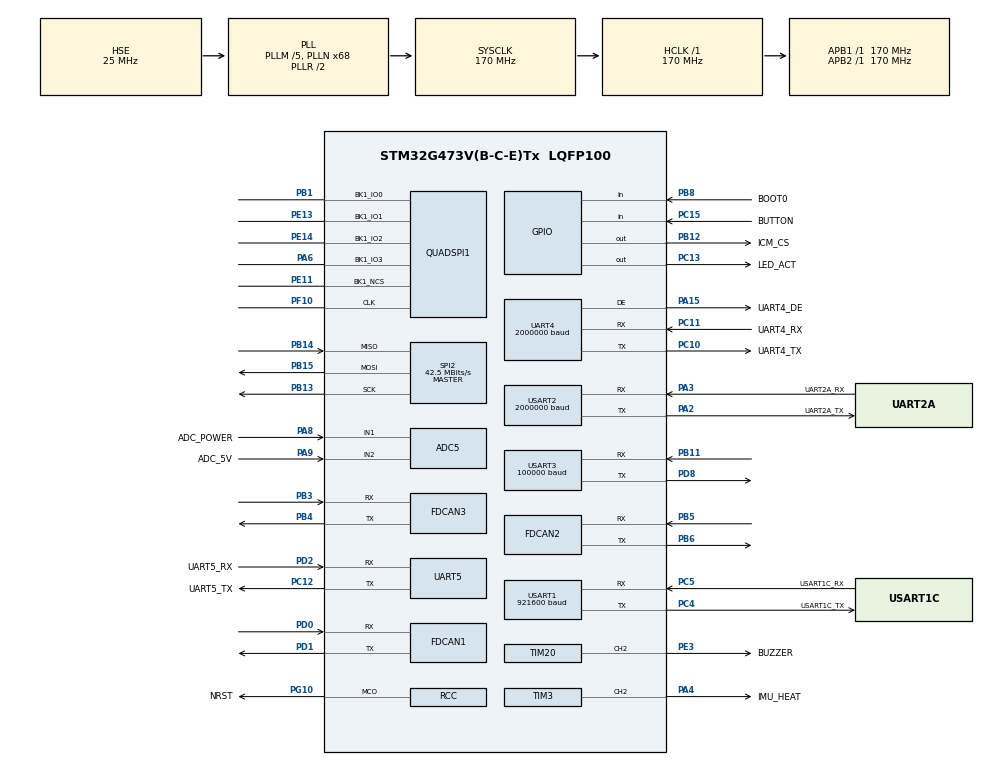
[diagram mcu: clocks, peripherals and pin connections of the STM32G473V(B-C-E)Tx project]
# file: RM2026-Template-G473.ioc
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ADC5.Channel-0\#ChannelRegularConversion=ADC_CHANNEL_1
ADC5.NbrOfConversionFlag=1
ADC5.OffsetNumber-0\#ChannelRegularConversion=ADC_OFFSET_NONE
ADC5.Rank-0\#ChannelRegularConversion=1
ADC5.SamplingTime-0\#ChannelRegularConversion=ADC_SAMPLETIME_2CYCLES_5
Dma.Request0=UART4_RX
Dma.Request1=UART4_TX
Dma.Request10=USART3_TX
Dma.Request2=USART2_RX
Dma.Request3=USART2_TX
Dma.Request4=USART3_RX
Dma.Request5=UART5_RX
Dma.Request6=USART1_RX
Dma.Request7=SPI2_RX
Dma.Request8=SPI2_TX
Dma.Request9=UART5_TX
Dma.SPI2_RX.7.Direction=DMA_PERIPH_TO_MEMORY
Dma.SPI2_RX.7.EventEnable=DISABLE
Dma.SPI2_RX.7.Instance=DMA2_Channel1
Dma.SPI2_RX.7.MemDataAlignment=DMA_MDATAALIGN_BYTE
Dma.SPI2_RX.7.MemInc=DMA_MINC_ENABLE
Dma.SPI2_RX.7.Mode=DMA_NORMAL
Dma.SPI2_RX.7.PeriphDataAlignment=DMA_PDATAALIGN_BYTE
Dma.SPI2_RX.7.PeriphInc=DMA_PINC_DISABLE
Dma.SPI2_RX.7.Polarity=HAL_DMAMUX_REQ_GEN_RISING
Dma.SPI2_RX.7.Priority=DMA_PRIORITY_HIGH
Dma.SPI2_RX.7.RequestNumber=1
Dma.SPI2_RX.7.SignalID=NONE
Dma.SPI2_RX.7.SyncEnable=DISABLE
Dma.SPI2_RX.7.SyncPolarity=HAL_DMAMUX_SYNC_NO_EVENT
Dma.SPI2_RX.7.SyncRequestNumber=1
Dma.SPI2_RX.7.SyncSignalID=NONE
Dma.SPI2_TX.8.Direction=DMA_MEMORY_TO_PERIPH
Dma.SPI2_TX.8.EventEnable=DISABLE
Dma.SPI2_TX.8.Instance=DMA2_Channel2
Dma.SPI2_TX.8.MemDataAlignment=DMA_MDATAALIGN_BYTE
Dma.SPI2_TX.8.MemInc=DMA_MINC_ENABLE
Dma.SPI2_TX.8.Mode=DMA_NORMAL
Dma.SPI2_TX.8.PeriphDataAlignment=DMA_PDATAALIGN_BYTE
Dma.SPI2_TX.8.PeriphInc=DMA_PINC_DISABLE
Dma.SPI2_TX.8.Polarity=HAL_DMAMUX_REQ_GEN_RISING
Dma.SPI2_TX.8.Priority=DMA_PRIORITY_HIGH
Dma.SPI2_TX.8.RequestNumber=1
Dma.SPI2_TX.8.SignalID=NONE
Dma.SPI2_TX.8.SyncEnable=DISABLE
Dma.SPI2_TX.8.SyncPolarity=HAL_DMAMUX_SYNC_NO_EVENT
Dma.SPI2_TX.8.SyncRequestNumber=1
Dma.SPI2_TX.8.SyncSignalID=NONE
Dma.UART4_RX.0.Direction=DMA_PERIPH_TO_MEMORY
Dma.UART4_RX.0.EventEnable=DISABLE
Dma.UART4_RX.0.Instance=DMA1_Channel2
Dma.UART4_RX.0.MemDataAlignment=DMA_MDATAALIGN_BYTE
Dma.UART4_RX.0.MemInc=DMA_MINC_ENABLE
Dma.UART4_RX.0.Mode=DMA_NORMAL
Dma.UART4_RX.0.PeriphDataAlignment=DMA_PDATAALIGN_BYTE
Dma.UART4_RX.0.PeriphInc=DMA_PINC_DISABLE
Dma.UART4_RX.0.Polarity=HAL_DMAMUX_REQ_GEN_RISING
Dma.UART4_RX.0.Priority=DMA_PRIORITY_VERY_HIGH
Dma.UART4_RX.0.RequestNumber=1
Dma.UART4_RX.0.SignalID=NONE
Dma.UART4_RX.0.SyncEnable=DISABLE
Dma.UART4_RX.0.SyncPolarity=HAL_DMAMUX_SYNC_NO_EVENT
Dma.UART4_RX.0.SyncRequestNumber=1
Dma.UART4_RX.0.SyncSignalID=NONE
Dma.UART4_TX.1.Direction=DMA_MEMORY_TO_PERIPH
Dma.UART4_TX.1.EventEnable=DISABLE
Dma.UART4_TX.1.Instance=DMA1_Channel3
Dma.UART4_TX.1.MemDataAlignment=DMA_MDATAALIGN_BYTE
Dma.UART4_TX.1.MemInc=DMA_MINC_ENABLE
Dma.UART4_TX.1.Mode=DMA_NORMAL
Dma.UART4_TX.1.PeriphDataAlignment=DMA_PDATAALIGN_BYTE
Dma.UART4_TX.1.PeriphInc=DMA_PINC_DISABLE
Dma.UART4_TX.1.Polarity=HAL_DMAMUX_REQ_GEN_RISING
Dma.UART4_TX.1.Priority=DMA_PRIORITY_VERY_HIGH
Dma.UART4_TX.1.RequestNumber=1
Dma.UART4_TX.1.SignalID=NONE
Dma.UART4_TX.1.SyncEnable=DISABLE
Dma.UART4_TX.1.SyncPolarity=HAL_DMAMUX_SYNC_NO_EVENT
Dma.UART4_TX.1.SyncRequestNumber=1
Dma.UART4_TX.1.SyncSignalID=NONE
Dma.UART5_RX.5.Direction=DMA_PERIPH_TO_MEMORY
Dma.UART5_RX.5.EventEnable=DISABLE
Dma.UART5_RX.5.Instance=DMA1_Channel8
Dma.UART5_RX.5.MemDataAlignment=DMA_MDATAALIGN_BYTE
Dma.UART5_RX.5.MemInc=DMA_MINC_ENABLE
Dma.UART5_RX.5.Mode=DMA_CIRCULAR
Dma.UART5_RX.5.PeriphDataAlignment=DMA_PDATAALIGN_BYTE
Dma.UART5_RX.5.PeriphInc=DMA_PINC_DISABLE
Dma.UART5_RX.5.Polarity=HAL_DMAMUX_REQ_GEN_RISING
Dma.UART5_RX.5.Priority=DMA_PRIORITY_HIGH
Dma.UART5_RX.5.RequestNumber=1
Dma.UART5_RX.5.SignalID=NONE
Dma.UART5_RX.5.SyncEnable=DISABLE
Dma.UART5_RX.5.SyncPolarity=HAL_DMAMUX_SYNC_NO_EVENT
Dma.UART5_RX.5.SyncRequestNumber=1
Dma.UART5_RX.5.SyncSignalID=NONE
Dma.UART5_TX.9.Direction=DMA_MEMORY_TO_PERIPH
Dma.UART5_TX.9.EventEnable=DISABLE
Dma.UART5_TX.9.Instance=DMA2_Channel3
Dma.UART5_TX.9.MemDataAlignment=DMA_MDATAALIGN_BYTE
Dma.UART5_TX.9.MemInc=DMA_MINC_ENABLE
Dma.UART5_TX.9.Mode=DMA_NORMAL
Dma.UART5_TX.9.PeriphDataAlignment=DMA_PDATAALIGN_BYTE
Dma.UART5_TX.9.PeriphInc=DMA_PINC_DISABLE
Dma.UART5_TX.9.Polarity=HAL_DMAMUX_REQ_GEN_RISING
Dma.UART5_TX.9.Priority=DMA_PRIORITY_HIGH
Dma.UART5_TX.9.RequestNumber=1
Dma.UART5_TX.9.SignalID=NONE
Dma.UART5_TX.9.SyncEnable=DISABLE
Dma.UART5_TX.9.SyncPolarity=HAL_DMAMUX_SYNC_NO_EVENT
Dma.UART5_TX.9.SyncRequestNumber=1
Dma.UART5_TX.9.SyncSignalID=NONE
Dma.USART1_RX.6.Direction=DMA_PERIPH_TO_MEMORY
Dma.USART1_RX.6.EventEnable=DISABLE
Dma.USART1_RX.6.Instance=DMA1_Channel6
Dma.USART1_RX.6.MemDataAlignment=DMA_MDATAALIGN_BYTE
Dma.USART1_RX.6.MemInc=DMA_MINC_ENABLE
Dma.USART1_RX.6.Mode=DMA_CIRCULAR
Dma.USART1_RX.6.PeriphDataAlignment=DMA_PDATAALIGN_BYTE
Dma.USART1_RX.6.PeriphInc=DMA_PINC_DISABLE
Dma.USART1_RX.6.Polarity=HAL_DMAMUX_REQ_GEN_RISING
Dma.USART1_RX.6.Priority=DMA_PRIORITY_HIGH
Dma.USART1_RX.6.RequestNumber=1
Dma.USART1_RX.6.SignalID=NONE
Dma.USART1_RX.6.SyncEnable=DISABLE
Dma.USART1_RX.6.SyncPolarity=HAL_DMAMUX_SYNC_NO_EVENT
Dma.USART1_RX.6.SyncRequestNumber=1
Dma.USART1_RX.6.SyncSignalID=NONE
Dma.USART2_RX.2.Direction=DMA_PERIPH_TO_MEMORY
Dma.USART2_RX.2.EventEnable=DISABLE
Dma.USART2_RX.2.Instance=DMA1_Channel4
Dma.USART2_RX.2.MemDataAlignment=DMA_MDATAALIGN_BYTE
Dma.USART2_RX.2.MemInc=DMA_MINC_ENABLE
Dma.USART2_RX.2.Mode=DMA_CIRCULAR
Dma.USART2_RX.2.PeriphDataAlignment=DMA_PDATAALIGN_BYTE
Dma.USART2_RX.2.PeriphInc=DMA_PINC_DISABLE
Dma.USART2_RX.2.Polarity=HAL_DMAMUX_REQ_GEN_RISING
Dma.USART2_RX.2.Priority=DMA_PRIORITY_VERY_HIGH
Dma.USART2_RX.2.RequestNumber=1
Dma.USART2_RX.2.SignalID=NONE
Dma.USART2_RX.2.SyncEnable=DISABLE
Dma.USART2_RX.2.SyncPolarity=HAL_DMAMUX_SYNC_NO_EVENT
Dma.USART2_RX.2.SyncRequestNumber=1
Dma.USART2_RX.2.SyncSignalID=NONE
Dma.USART2_TX.3.Direction=DMA_MEMORY_TO_PERIPH
Dma.USART2_TX.3.EventEnable=DISABLE
Dma.USART2_TX.3.Instance=DMA1_Channel5
Dma.USART2_TX.3.MemDataAlignment=DMA_MDATAALIGN_BYTE
Dma.USART2_TX.3.MemInc=DMA_MINC_ENABLE
Dma.USART2_TX.3.Mode=DMA_NORMAL
Dma.USART2_TX.3.PeriphDataAlignment=DMA_PDATAALIGN_BYTE
Dma.USART2_TX.3.PeriphInc=DMA_PINC_DISABLE
Dma.USART2_TX.3.Polarity=HAL_DMAMUX_REQ_GEN_RISING
Dma.USART2_TX.3.Priority=DMA_PRIORITY_VERY_HIGH
Dma.USART2_TX.3.RequestNumber=1
Dma.USART2_TX.3.SignalID=NONE
Dma.USART2_TX.3.SyncEnable=DISABLE
Dma.USART2_TX.3.SyncPolarity=HAL_DMAMUX_SYNC_NO_EVENT
Dma.USART2_TX.3.SyncRequestNumber=1
Dma.USART2_TX.3.SyncSignalID=NONE
Dma.USART3_RX.4.Direction=DMA_PERIPH_TO_MEMORY
Dma.USART3_RX.4.EventEnable=DISABLE
Dma.USART3_RX.4.Instance=DMA1_Channel1
Dma.USART3_RX.4.MemDataAlignment=DMA_MDATAALIGN_BYTE
Dma.USART3_RX.4.MemInc=DMA_MINC_ENABLE
Dma.USART3_RX.4.Mode=DMA_CIRCULAR
Dma.USART3_RX.4.PeriphDataAlignment=DMA_PDATAALIGN_BYTE
Dma.USART3_RX.4.PeriphInc=DMA_PINC_DISABLE
Dma.USART3_RX.4.Polarity=HAL_DMAMUX_REQ_GEN_RISING
Dma.USART3_RX.4.Priority=DMA_PRIORITY_VERY_HIGH
Dma.USART3_RX.4.RequestNumber=1
Dma.USART3_RX.4.SignalID=NONE
Dma.USART3_RX.4.SyncEnable=DISABLE
Dma.USART3_RX.4.SyncPolarity=HAL_DMAMUX_SYNC_NO_EVENT
Dma.USART3_RX.4.SyncRequestNumber=1
Dma.USART3_RX.4.SyncSignalID=NONE
Dma.USART3_TX.10.Direction=DMA_MEMORY_TO_PERIPH
Dma.USART3_TX.10.EventEnable=DISABLE
Dma.USART3_TX.10.Instance=DMA1_Channel7
Dma.USART3_TX.10.MemDataAlignment=DMA_MDATAALIGN_BYTE
Dma.USART3_TX.10.MemInc=DMA_MINC_ENABLE
Dma.USART3_TX.10.Mode=DMA_NORMAL
Dma.USART3_TX.10.PeriphDataAlignment=DMA_PDATAALIGN_BYTE
Dma.USART3_TX.10.PeriphInc=DMA_PINC_DISABLE
Dma.USART3_TX.10.Polarity=HAL_DMAMUX_REQ_GEN_RISING
Dma.USART3_TX.10.Priority=DMA_PRIORITY_LOW
Dma.USART3_TX.10.RequestNumber=1
Dma.USART3_TX.10.SignalID=NONE
Dma.USART3_TX.10.SyncEnable=DISABLE
Dma.USART3_TX.10.SyncPolarity=HAL_DMAMUX_SYNC_NO_EVENT
Dma.USART3_TX.10.SyncRequestNumber=1
Dma.USART3_TX.10.SyncSignalID=NONE
FDCAN1.AutoRetransmission=DISABLE
FDCAN1.CalculateBaudRateNominal=1000000
FDCAN1.CalculateTimeBitNominal=1000
FDCAN1.CalculateTimeQuantumNominal=100.0
FDCAN1.ClockDivider=FDCAN_CLOCK_DIV1
FDCAN1.DataPrescaler=17
FDCAN1.DataSyncJumpWidth=1
FDCAN1.DataTimeSeg1=6
FDCAN1.DataTimeSeg2=2
FDCAN1.NominalPrescaler=17
FDCAN1.NominalTimeSeg1=6
FDCAN1.NominalTimeSeg2=3
FDCAN1.ProtocolException=DISABLE
FDCAN1.StdFiltersNbr=8
FDCAN1.TransmitPause=DISABLE
FDCAN2.CalculateBaudRateNominal=1000000
FDCAN2.CalculateTimeBitNominal=1000
FDCAN2.CalculateTimeQuantumNominal=100.0
FDCAN2.DataPrescaler=17
FDCAN2.DataTimeSeg1=6
FDCAN2.DataTimeSeg2=2
FDCAN2.NominalPrescaler=17
FDCAN2.NominalTimeSeg1=6
FDCAN2.NominalTimeSeg2=3
FDCAN2.StdFiltersNbr=8
FDCAN3.CalculateBaudRateNominal=1000000
FDCAN3.CalculateTimeBitNominal=1000
FDCAN3.CalculateTimeQuantumNominal=100.0
FDCAN3.DataPrescaler=17
FDCAN3.DataTimeSeg1=6
FDCAN3.DataTimeSeg2=2
FDCAN3.NominalPrescaler=17
FDCAN3.NominalTimeSeg1=6
FDCAN3.NominalTimeSeg2=3
FDCAN3.StdFiltersNbr=8
Mcu.Family=STM32G4
Mcu.Name=STM32G473V(B-C-E)Tx
Mcu.Package=LQFP100
NVIC.DMA1_Channel1_IRQn=true\:10\:0\:true\:false\:true\:false\:true\:true
NVIC.DMA1_Channel2_IRQn=true\:10\:0\:true\:false\:true\:false\:true\:true
NVIC.DMA1_Channel3_IRQn=true\:10\:0\:true\:false\:true\:false\:true\:true
NVIC.DMA1_Channel4_IRQn=true\:10\:0\:true\:false\:true\:false\:true\:true
NVIC.DMA1_Channel5_IRQn=true\:10\:0\:true\:false\:true\:false\:true\:true
NVIC.DMA1_Channel6_IRQn=true\:10\:0\:true\:false\:true\:false\:true\:true
NVIC.DMA1_Channel7_IRQn=true\:10\:0\:true\:false\:true\:false\:true\:true
NVIC.DMA1_Channel8_IRQn=true\:10\:0\:true\:false\:true\:false\:true\:true
NVIC.DMA2_Channel1_IRQn=true\:10\:0\:true\:false\:true\:false\:true\:true
NVIC.DMA2_Channel2_IRQn=true\:10\:0\:true\:false\:true\:false\:true\:true
NVIC.DMA2_Channel3_IRQn=true\:10\:0\:true\:false\:true\:false\:true\:true
NVIC.FDCAN1_IT0_IRQn=true\:9\:0\:true\:false\:true\:true\:true\:true
NVIC.FDCAN1_IT1_IRQn=true\:9\:0\:true\:false\:true\:true\:true\:true
NVIC.FDCAN2_IT0_IRQn=true\:9\:0\:true\:false\:true\:true\:true\:true
NVIC.FDCAN2_IT1_IRQn=true\:9\:0\:true\:false\:true\:true\:true\:true
NVIC.FDCAN3_IT0_IRQn=true\:9\:0\:true\:false\:true\:true\:true\:true
NVIC.FDCAN3_IT1_IRQn=true\:9\:0\:true\:false\:true\:true\:true\:true
NVIC.PriorityGroup=NVIC_PRIORITYGROUP_4
NVIC.SPI2_IRQn=true\:10\:0\:true\:false\:true\:true\:true\:true
NVIC.TIM1_UP_TIM16_IRQn=true\:9\:0\:true\:false\:true\:true\:true\:true
NVIC.TIM7_DAC_IRQn=true\:15\:0\:false\:false\:true\:false\:true\:true
NVIC.TimeBase=TIM7_DAC_IRQn
NVIC.TimeBaseIP=TIM7
NVIC.UART4_IRQn=true\:10\:0\:true\:false\:true\:true\:true\:true
NVIC.UART5_IRQn=true\:10\:0\:true\:false\:true\:true\:true\:true
NVIC.USART1_IRQn=true\:10\:0\:true\:false\:true\:true\:true\:true
NVIC.USART2_IRQn=true\:10\:0\:true\:false\:true\:true\:true\:true
NVIC.USART3_IRQn=true\:10\:0\:true\:false\:true\:true\:true\:true
PA13.Mode=Serial_Wire
PA13.Signal=SYS_JTMS-SWDIO
PA14.Mode=Serial_Wire
PA14.Signal=SYS_JTCK-SWCLK
PA15.GPIO_Label=UART4_DE
PA15.Mode=Hardware Flow Control (RS485)
PA15.Signal=UART4_DE
PA2.GPIO_Label=UART2A_TX
PA2.Mode=Asynchronous
PA2.Signal=USART2_TX
PA3.GPIO_Label=UART2A_RX
PA3.Mode=Asynchronous
PA3.Signal=USART2_RX
PA4.GPIO_Label=IMU_HEAT
PA4.GPIO_Speed=GPIO_SPEED_FREQ_HIGH
PA4.Signal=S_TIM3_CH2
PA6.Mode=Single Bank 1
PA6.Signal=QUADSPI1_BK1_IO3
PA8.GPIO_Label=ADC_POWER
PA8.Mode=IN1-Single-Ended
PA8.Signal=ADC5_IN1
PA9.GPIO_Label=ADC_5V
PA9.Mode=IN2-Single-Ended
PA9.Signal=ADC5_IN2
PB1.Mode=Single Bank 1
PB1.Signal=QUADSPI1_BK1_IO0
PB11.GPIO_PuPd=GPIO_NOPULL
PB11.GPIO_Speed=GPIO_SPEED_FREQ_LOW
PB11.Mode=Asynchronous
PB11.Signal=USART3_RX
PB12.GPIO_Label=ICM_CS
PB12.GPIO_Speed=GPIO_SPEED_FREQ_VERY_HIGH
PB12.Signal=GPIO_Output
PB13.GPIO_Speed=GPIO_SPEED_FREQ_VERY_HIGH
PB13.Mode=Full_Duplex_Master
PB13.Signal=SPI2_SCK
PB14.GPIO_Speed=GPIO_SPEED_FREQ_VERY_HIGH
PB14.Mode=Full_Duplex_Master
PB14.Signal=SPI2_MISO
PB15.GPIO_Speed=GPIO_SPEED_FREQ_VERY_HIGH
PB15.Mode=Full_Duplex_Master
PB15.Signal=SPI2_MOSI
PB3.Mode=FDCAN_Activate
PB3.Signal=FDCAN3_RX
PB4.Mode=FDCAN_Activate
PB4.Signal=FDCAN3_TX
PB5.Mode=FDCAN_Activate
PB5.Signal=FDCAN2_RX
PB6.Mode=FDCAN_Activate
PB6.Signal=FDCAN2_TX
PB8-BOOT0.GPIO_Label=BOOT0
PB8-BOOT0.Signal=GPIO_Input
PC10.GPIO_Label=UART4_TX
PC10.Mode=Asynchronous
PC10.Signal=UART4_TX
PC11.GPIO_Label=UART4_RX
PC11.Mode=Asynchronous
PC11.Signal=UART4_RX
PC12.GPIO_Label=UART5_TX
PC12.Mode=Asynchronous
PC12.Signal=UART5_TX
PC13.GPIO_Label=LED_ACT
PC13.Signal=GPIO_Output
PC15-OSC32_OUT.GPIO_Label=BUTTON
PC15-OSC32_OUT.GPIO_PuPd=GPIO_PULLUP
PC15-OSC32_OUT.Signal=GPIO_Input
PC4.GPIO_Label=USART1C_TX
PC4.Mode=Asynchronous
PC4.Signal=USART1_TX
PC5.GPIO_Label=USART1C_RX
PC5.Mode=Asynchronous
PC5.Signal=USART1_RX
PD0.Mode=FDCAN_Activate
PD0.Signal=FDCAN1_RX
PD1.Mode=FDCAN_Activate
PD1.Signal=FDCAN1_TX
PD2.GPIO_Label=UART5_RX
PD2.Mode=Asynchronous
PD2.Signal=UART5_RX
PD8.Mode=Asynchronous
PD8.Signal=USART3_TX
PE11.Mode=Single Bank 1
PE11.Signal=QUADSPI1_BK1_NCS
PE13.Mode=Single Bank 1
PE13.Signal=QUADSPI1_BK1_IO1
PE14.Mode=Single Bank 1
PE14.Signal=QUADSPI1_BK1_IO2
PE3.GPIO_Label=BUZZER
PE3.GPIO_Speed=GPIO_SPEED_FREQ_HIGH
PE3.Signal=S_TIM20_CH2
PF0-OSC_IN.Mode=HSE-External-Oscillator
PF0-OSC_IN.Signal=RCC_OSC_IN
PF1-OSC_OUT.Mode=HSE-External-Oscillator
PF1-OSC_OUT.Signal=RCC_OSC_OUT
PF10.Mode=Single Bank 1
PF10.Signal=QUADSPI1_CLK
PG10-NRST.GPIO_Label=NRST
PG10-NRST.Mode=Clock-out
PG10-NRST.Signal=RCC_MCO
ProjectManager.HeapSize=0x200
ProjectManager.StackSize=0x400
ProjectManager.TargetToolchain=Makefile
RCC.ADC12Freq_Value=170000000
RCC.ADC345Freq_Value=170000000
RCC.AHBFreq_Value=170000000
RCC.APB1Freq_Value=170000000
RCC.APB1TimFreq_Value=170000000
RCC.APB2Freq_Value=170000000
RCC.APB2TimFreq_Value=170000000
RCC.CK48CLockSelection=RCC_USBCLKSOURCE_HSI48
RCC.CortexFreq_Value=170000000
RCC.EXTERNAL_CLOCK_VALUE=12288000
RCC.HCLKFreq_Value=170000000
RCC.HSE_VALUE=25000000
RCC.HSI48_VALUE=48000000
RCC.HSI_VALUE=16000000
RCC.LSE_VALUE=32768
RCC.PLLM=RCC_PLLM_DIV5
RCC.PLLN=68
RCC.PLLQ=RCC_PLLQ_DIV8
RCC.PLLSourceVirtual=RCC_PLLSOURCE_HSE
RCC.SYSCLKFreq_VALUE=170000000
RCC.SYSCLKSource=RCC_SYSCLKSOURCE_PLLCLK
RCC.USBFreq_Value=48000000
RCC.VCOOutputFreq_Value=340000000
SH.S_TIM20_CH2.0=TIM20_CH2,PWM Generation2 CH2
SH.S_TIM3_CH2.0=TIM3_CH2,PWM Generation2 CH2
SPI2.BaudRatePrescaler=SPI_BAUDRATEPRESCALER_4
SPI2.CalculateBaudRate=42.5 MBits/s
SPI2.DataSize=SPI_DATASIZE_8BIT
SPI2.Direction=SPI_DIRECTION_2LINES
SPI2.Mode=SPI_MODE_MASTER
SPI2.VirtualType=VM_MASTER
STMicroelectronics.X-CUBE-ALGOBUILD.1.4.0.LibraryCcDSPOoLibraryJjDSPOoLibrary=true
TIM16.AutoReloadPreload=TIM_AUTORELOAD_PRELOAD_DISABLE
TIM16.PeriodNoDither=65535
TIM16.Prescaler=169
TIM20.AutoReloadPreload=TIM_AUTORELOAD_PRELOAD_ENABLE
TIM20.Channel-PWM\ Generation2\ CH2=TIM_CHANNEL_2
TIM20.PeriodNoDither=10000 - 1
TIM20.Prescaler=0
TIM3.AutoReloadPreload=TIM_AUTORELOAD_PRELOAD_ENABLE
TIM3.Channel-PWM\ Generation2\ CH2=TIM_CHANNEL_2
TIM3.PeriodNoDither=1000 - 1
TIM3.Prescaler=170 - 1
TIM3.TIM_MasterOutputTrigger=TIM_TRGO_UPDATE
UART4.BaudRate=2000000
UART4.OneBitSampling=UART_ONE_BIT_SAMPLE_ENABLE
UART4.OverSampling=UART_OVERSAMPLING_16
UART4.Parity=PARITY_NONE
UART4.StopBits=UART_STOPBITS_2
UART4.WordLength=WORDLENGTH_8B
USART1.BaudRate=921600
USART1.Parity=PARITY_NONE
USART1.RxPinLevelInvertParam=ADVFEATURE_RXINV_DISABLE
USART1.VirtualMode-Asynchronous=VM_ASYNC
USART1.WordLength=WORDLENGTH_8B
USART2.BaudRate=2000000
USART2.OneBitSampling=UART_ONE_BIT_SAMPLE_ENABLE
USART2.StopBits=STOPBITS_2
USART2.VirtualMode-Asynchronous=VM_ASYNC
USART3.BaudRate=100000
USART3.OneBitSampling=UART_ONE_BIT_SAMPLE_ENABLE
USART3.Parity=PARITY_EVEN
USART3.RxPinLevelInvertParam=ADVFEATURE_RXINV_DISABLE
USART3.StopBits=STOPBITS_1
USART3.VirtualMode-Asynchronous=VM_ASYNC
USART3.WordLength=WORDLENGTH_9B
VP_CORDIC_VS_CORDIC.Mode=CORDIC_Activate
VP_STMicroelectronics.X-CUBE-ALGOBUILD_VS_DSPOoLibraryJjLibrary_1.4.0_1.4.0.Mode=DSPOoLibraryJjLibrary
VP_SYS_VS_DBSignals.Mode=DisableDeadBatterySignals
VP_SYS_VS_tim7.Mode=TIM7
VP_TIM16_VS_ClockSourceINT.Mode=Enable_Timer
VP_TIM3_VS_ClockSourceINT.Mode=Internal
board=custom

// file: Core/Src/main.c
/* USER CODE BEGIN Header */
/**
  ******************************************************************************
  * @file           : main.c
  * @brief          : Main program body
  ******************************************************************************
  * @attention
  *
  * Copyright (c) 2024 STMicroelectronics.
  * All rights reserved.
  *
  * This software is licensed under terms that can be found in the LICENSE file
  * in the root directory of this software component.
  * If no LICENSE file comes with this software, it is provided AS-IS.
  *
  ******************************************************************************
  */
/* USER CODE END Header */
#include "main.h"
#include "adc.h"
#include "cordic.h"
#include "dma.h"
#include "fdcan.h"
#include "quadspi.h"
#include "spi.h"
#include "tim.h"
#include "usart.h"
#include "gpio.h"

void SystemClock_Config(void);

int main(void)
{

  /* MCU Configuration--------------------------------------------------------*/

  /* Reset of all peripherals, Initializes the Flash interface and the Systick. */
  HAL_Init();

  /* Configure the system clock */
  SystemClock_Config();

  /* USER CODE BEGIN SysInit */
    /* Write Flash OB (G4 series) */
  FLASH_OBProgramInitTypeDef pOBInit;
  HAL_FLASHEx_OBGetConfig(&pOBInit);
  if (!((pOBInit.USERConfig & FLASH_OPTR_nSWBOOT0_Msk) == OB_BOOT0_FROM_OB &&
        (pOBInit.USERConfig & FLASH_OPTR_nBOOT0_Msk) == OB_nBOOT0_SET &&
        (pOBInit.USERConfig & FLASH_OPTR_NRST_MODE_Msk) == OB_NRST_MODE_GPIO &&
        (pOBInit.USERConfig & FLASH_OPTR_BOR_LEV_Msk) == OB_BOR_LEVEL_4 &&
        (pOBInit.USERConfig & FLASH_OPTR_nRST_STOP_Msk) == OB_STOP_RST &&
        (pOBInit.USERConfig & FLASH_OPTR_nRST_STDBY_Msk) == OB_STANDBY_RST &&
        (pOBInit.USERConfig & FLASH_OPTR_nRST_SHDW_Msk) == OB_SHUTDOWN_RST
  )) {
      __disable_irq();
      HAL_FLASH_Unlock();
      HAL_FLASH_OB_Unlock();

      pOBInit.OptionType = OPTIONBYTE_USER;
      pOBInit.USERType = 0;
      pOBInit.USERConfig = 0;

      pOBInit.USERType |= OB_USER_nSWBOOT0;
      pOBInit.USERConfig |= OB_BOOT0_FROM_OB;
      pOBInit.USERType |= OB_USER_nBOOT0;
      pOBInit.USERConfig |= OB_nBOOT0_SET;
      pOBInit.USERType |= OB_USER_NRST_MODE;
      pOBInit.USERConfig |= OB_NRST_MODE_GPIO;
      pOBInit.USERType |= OB_USER_BOR_LEV;
      pOBInit.USERConfig |= OB_BOR_LEVEL_4;
      pOBInit.USERType |= OB_USER_nRST_STOP;
      pOBInit.USERConfig |= OB_STOP_RST;
      pOBInit.USERType |= OB_USER_nRST_STDBY;
      pOBInit.USERConfig |= OB_STANDBY_RST;
      pOBInit.USERType |= OB_USER_nRST_SHDW;
      pOBInit.USERConfig |= OB_SHUTDOWN_RST;
      pOBInit.USERType |= OB_USER_IRHEN;
      pOBInit.USERConfig |= OB_IRH_ENABLE;
      HAL_FLASHEx_OBProgram(&pOBInit);
      HAL_FLASH_OB_Launch();
      HAL_FLASH_OB_Lock();
      HAL_FLASH_Lock();
      __enable_irq();

  }

  /* USER CODE END SysInit */

  /* Initialize all configured peripherals */
  MX_GPIO_Init();
  MX_DMA_Init();
  MX_FDCAN1_Init();
  MX_FDCAN2_Init();
  MX_FDCAN3_Init();
  MX_UART4_Init();
  MX_UART5_Init();
  MX_USART2_UART_Init();
  MX_USART3_UART_Init();
  MX_CORDIC_Init();
  MX_TIM16_Init();
  MX_USART1_UART_Init();
  MX_TIM20_Init();
  MX_ADC5_Init();
  MX_QUADSPI1_Init();
  MX_SPI2_Init();
  MX_TIM3_Init();
  /* USER CODE BEGIN 2 */
  extern void startRTOS(void);
  startRTOS();

  /* USER CODE END 2 */

  /* Infinite loop */
  while (1)
  {

  }
}

void SystemClock_Config(void)
{
  RCC_OscInitTypeDef RCC_OscInitStruct = {0};
  RCC_ClkInitTypeDef RCC_ClkInitStruct = {0};

  /** Configure the main internal regulator output voltage
  */
  HAL_PWREx_ControlVoltageScaling(PWR_REGULATOR_VOLTAGE_SCALE1_BOOST);

  /** Initializes the RCC Oscillators according to the specified parameters
  * in the RCC_OscInitTypeDef structure.
  */
  RCC_OscInitStruct.OscillatorType = RCC_OSCILLATORTYPE_HSI|RCC_OSCILLATORTYPE_HSE;
  RCC_OscInitStruct.HSEState = RCC_HSE_ON;
  RCC_OscInitStruct.HSIState = RCC_HSI_ON;
  RCC_OscInitStruct.HSICalibrationValue = RCC_HSICALIBRATION_DEFAULT;
  RCC_OscInitStruct.PLL.PLLState = RCC_PLL_ON;
  RCC_OscInitStruct.PLL.PLLSource = RCC_PLLSOURCE_HSE;
  RCC_OscInitStruct.PLL.PLLM = RCC_PLLM_DIV5;
  RCC_OscInitStruct.PLL.PLLN = 68;
  RCC_OscInitStruct.PLL.PLLP = RCC_PLLP_DIV2;
  RCC_OscInitStruct.PLL.PLLQ = RCC_PLLQ_DIV8;
  RCC_OscInitStruct.PLL.PLLR = RCC_PLLR_DIV2;
  if (HAL_RCC_OscConfig(&RCC_OscInitStruct) != HAL_OK)
  {
    Error_Handler();
  }

  /** Initializes the CPU, AHB and APB buses clocks
  */
  RCC_ClkInitStruct.ClockType = RCC_CLOCKTYPE_HCLK|RCC_CLOCKTYPE_SYSCLK
                              |RCC_CLOCKTYPE_PCLK1|RCC_CLOCKTYPE_PCLK2;
  RCC_ClkInitStruct.SYSCLKSource = RCC_SYSCLKSOURCE_PLLCLK;
  RCC_ClkInitStruct.AHBCLKDivider = RCC_SYSCLK_DIV1;
  RCC_ClkInitStruct.APB1CLKDivider = RCC_HCLK_DIV1;
  RCC_ClkInitStruct.APB2CLKDivider = RCC_HCLK_DIV1;

  if (HAL_RCC_ClockConfig(&RCC_ClkInitStruct, FLASH_LATENCY_4) != HAL_OK)
  {
    Error_Handler();
  }
  HAL_RCC_MCOConfig(RCC_MCO_PG10, RCC_MCO1SOURCE_HSI, RCC_MCODIV_1);
}

void HAL_TIM_PeriodElapsedCallback(TIM_HandleTypeDef *htim)
{
  if (htim->Instance == TIM7)
  {
    HAL_IncTick();
  }
}

void Error_Handler(void)
{
  __disable_irq();
  while (1)
  {
  }
}
